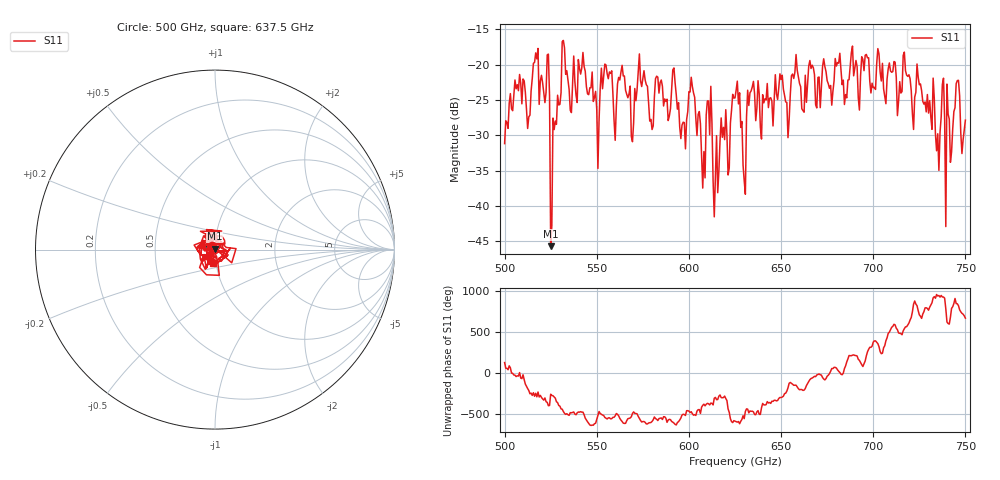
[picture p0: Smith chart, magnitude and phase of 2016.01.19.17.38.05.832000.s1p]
!Created with skrf (http://scikit-rf.org).
# GHz S RI R 50.0
!freq ReS11 ImS11
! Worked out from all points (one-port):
!   401 points, 500 GHz to 750 GHz, reference 50 ohm
!   lowest |S11| = -45.7 dB at 525 GHz (marker M1), VSWR 1.01, Z = 49.9 + j0.509 ohm
!   |S11| at or under -10 dB: start of sweep to end of sweep
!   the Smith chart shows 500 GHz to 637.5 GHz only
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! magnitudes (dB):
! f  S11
! 500 GHz  -31.2
! 506.9 GHz  -22.8
! 513.1 GHz  -27.4
! 516.9 GHz  -18.3
! 523.1 GHz  -18.6
! 525 GHz  -45.7
! 526.2 GHz  -27.6
! 531.2 GHz  -16.8
! 550 GHz  -26.3
! 562.5 GHz  -22.2
! 570 GHz  -28.2
! 573.8 GHz  -22.3
! 579.4 GHz  -27.7
! 583.1 GHz  -21.8
! 593.8 GHz  -26.3
! 601.9 GHz  -23.1
! 607.5 GHz  -37.5
! 611.2 GHz  -29.9
! 614.4 GHz  -35.8
! 625 GHz  -24.7
! 629.4 GHz  -34.2
! 634.4 GHz  -23.1
! 656.2 GHz  -21.3
! 687.5 GHz  -20.2
! 718.8 GHz  -21.7
! 735 GHz  -29.8
! 745.6 GHz  -22.2
! 750 GHz  -27.8
